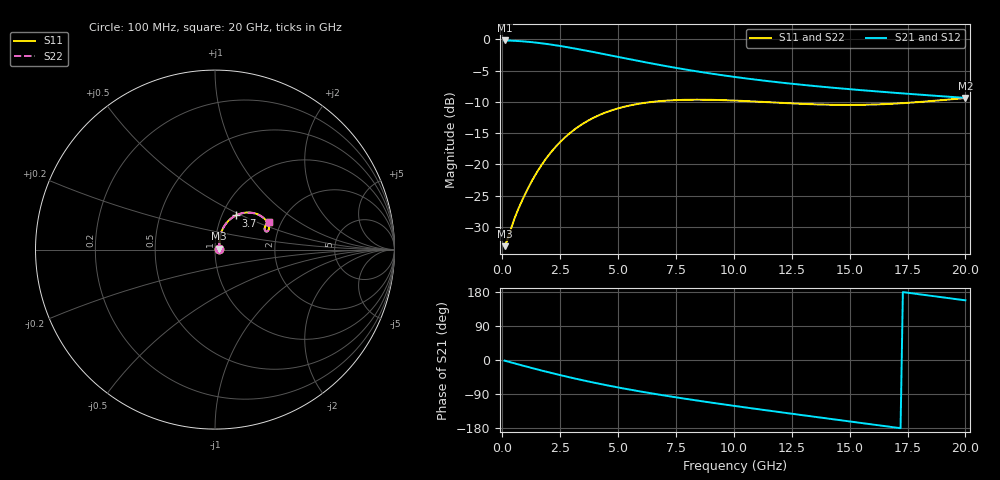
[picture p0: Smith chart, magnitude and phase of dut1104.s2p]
! Touchstone file exported from HFSS 2024.1.0
!  File:  C:/UserFiles/LocalFiles/RDL_TSV_Batchsim/temp_RDL_TSV_1104_1780101094.aedt
!  Generated:  08:43:17 AM May 30, 2026
!  Design:  RDL_TSV
!  Project:  temp_RDL_TSV_1104_1780101094
!  Setup:  Setup1
!  Solution:  Sweep
! Variables:
!  dtsv = 6.83um
!  hbump = 3um
!  htsv = 99.78um
!  ldown = 462.18um
!  lrdl = 306.88um
!  p = 40
!  p1 = 43.64um
!  rhole = 10um
!  subl = 2614.06um
!  t = 450um
!  tdown = 3.48um
!  trdl = 4.14um
!  viad = 10um
!  wdown = 10.9um
!  wrdl = 14.11um
!  xbump = 18um
# GHz S MA R 50.000000
! Terminal data exported
! Port[1] = TM1_1_T1
! Port[2] = TM1_4_T1
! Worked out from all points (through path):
!   200 points, 100 MHz to 20 GHz, reference 50 ohm
!   highest |S21| = -0.19 dB at 100 MHz (marker M1); lowest = -9.4 dB at 20 GHz (marker M2)
!   group delay of S21, straight-line fit = 26.4 ps
!   lowest |S11| = -33.1 dB at 100 MHz (marker M3), VSWR 1.05, Z = 52.2 + j0.582 ohm
!   |S11| at or under -10 dB: start of sweep to 6.501 GHz; 11.17 GHz to 18.12 GHz (6.95 GHz wide, 47.4 % of centre)
!   |S22| runs from -33.1 to -9.4 dB; largest |S21 - S12| = 4.3e-14
!   S11 on the Smith chart (normalised r, x): 100 MHz: 1.04, +0.01; 3.7 GHz: 1.16, +0.47; 20 GHz: 1.73, +0.61
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0.1  0.02219 14.6  0.9783 -1.7  0.9783 -1.7  0.02219 14.5
! Gamma 0 0 0 0
! Port Impedance 50 0 50 0
0.2  0.02445 27.0  0.9775 -3.4  0.9775 -3.4  0.02446 27.0
0.5  0.03579 48.8  0.9726 -8.5  0.9726 -8.5  0.0358 48.7
0.8  0.04885 59.1  0.9651 -13.4  0.9651 -13.4  0.04885 59.1
1.2  0.0693 66.8  0.9513 -19.9  0.9513 -19.9  0.06929 66.8
1.6  0.09295 69.7  0.9336 -26.3  0.9336 -26.3  0.0929 69.6
2  0.1183 69.8  0.9127 -32.4  0.9127 -32.4  0.1183 69.7
2.5  0.1509 67.7  0.8835 -39.9  0.8835 -39.9  0.1508 67.7
3  0.1828 64.3  0.852 -47.0  0.852 -47.0  0.1825 64.3
3.5  0.2124 60.3  0.8193 -53.8  0.8193 -53.8  0.2121 60.2
3.7  0.2234 58.5  0.8062 -56.5  0.8062 -56.5  0.223 58.5
4.3  0.2529 53.3  0.7669 -64.1  0.7669 -64.1  0.2525 53.3
5  0.2804 47.5  0.7227 -72.4  0.7227 -72.4  0.2799 47.4
5.9  0.3053 40.6  0.67 -82.4  0.67 -82.4  0.3047 40.6
6.8  0.3202 34.8  0.623 -91.7  0.623 -91.7  0.3196 34.7
8.3  0.3289 27.3  0.5578 -106.0  0.5578 -106.0  0.3282 27.2
10.1  0.3233 21.6  0.498 -121.8  0.498 -121.8  0.3225 21.6
11.7  0.3125 19.4  0.4577 -135.2  0.4577 -135.2  0.3117 19.4
13.4  0.3022 19.6  0.4243 -149.1  0.4243 -149.1  0.3014 19.5
15  0.2986 21.4  0.399 -162.1  0.399 -162.1  0.2978 21.4
16.7  0.3042 24.1  0.3763 -175.9  0.3763 -175.9  0.3034 24.1
20  0.3392 27.3  0.3399 157.4  0.3399 157.4  0.3386 27.3
